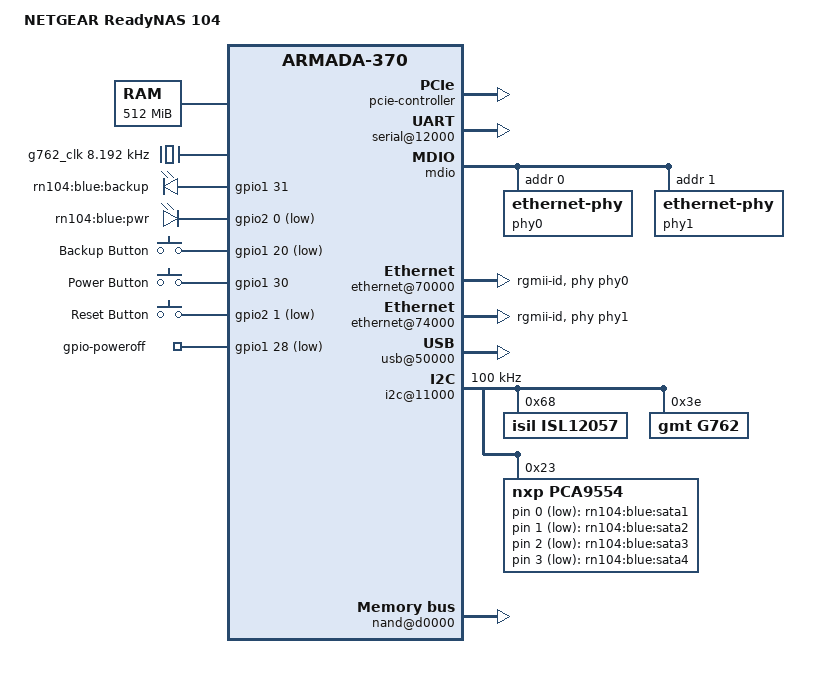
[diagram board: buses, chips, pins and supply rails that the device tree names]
/*
 * Device Tree file for NETGEAR ReadyNAS 104
 *
 * Copyright (C) 2013, Arnaud EBALARD <arno@natisbad.org>
 *
 * This program is free software; you can redistribute it and/or
 * modify it under the terms of the GNU General Public License
 * as published by the Free Software Foundation; either version
 * 2 of the License, or (at your option) any later version.
 */

/dts-v1/;

#include <dt-bindings/input/input.h>
#include <dt-bindings/gpio/gpio.h>
#include "armada-370.dtsi"

/ {
	model = "NETGEAR ReadyNAS 104";
	compatible = "netgear,readynas-104", "marvell,armada370", "marvell,armada-370-xp";

	chosen {
		bootargs = "console=ttyS0,115200 earlyprintk";
	};

	memory {
		device_type = "memory";
		reg = <0x00000000 0x20000000>; /* 512 MB */
	};

	soc {
		ranges = <MBUS_ID(0xf0, 0x01) 0 0xd0000000 0x100000
			  MBUS_ID(0x01, 0xe0) 0 0xfff00000 0x100000>;

		pcie-controller {
			status = "okay";

			/* Connected to FL1009 USB 3.0 controller */
			pcie@1,0 {
				/* Port 0, Lane 0 */
				status = "okay";
			};

			/* Connected to Marvell 88SE9215 SATA controller */
			pcie@2,0 {
				/* Port 1, Lane 0 */
				status = "okay";
			};
		};

		internal-regs {
			serial@12000 {
				status = "okay";
			};

			pinctrl {
				poweroff: poweroff {
					marvell,pins = "mpp60";
					marvell,function = "gpio";
				};

				backup_button_pin: backup-button-pin {
					marvell,pins = "mpp52";
					marvell,function = "gpio";
				};

				power_button_pin: power-button-pin {
					marvell,pins = "mpp62";
					marvell,function = "gpio";
				};

				backup_led_pin: backup-led-pin {
					marvell,pins = "mpp63";
					marvell,function = "gpo";
				};

				power_led_pin: power-led-pin {
					marvell,pins = "mpp64";
					marvell,function = "gpio";
				};

				reset_button_pin: reset-button-pin {
					marvell,pins = "mpp65";
					marvell,function = "gpio";
				};
			};

			mdio {
				pinctrl-0 = <&mdio_pins>;
				pinctrl-names = "default";
				phy0: ethernet-phy@0 { /* Marvell 88E1318 */
					reg = <0>;
				};

				phy1: ethernet-phy@1 { /* Marvell 88E1318 */
					reg = <1>;
				};
			};

			ethernet@70000 {
				pinctrl-0 = <&ge0_rgmii_pins>;
				pinctrl-names = "default";
				status = "okay";
				phy = <&phy0>;
				phy-mode = "rgmii-id";
			};

			ethernet@74000 {
				pinctrl-0 = <&ge1_rgmii_pins>;
				pinctrl-names = "default";
				status = "okay";
				phy = <&phy1>;
				phy-mode = "rgmii-id";
			};

			usb@50000 {
				status = "okay";
			};

			i2c@11000 {
				compatible = "marvell,mv64xxx-i2c";
				clock-frequency = <100000>;
				status = "okay";

				isl12057: isl12057@68 {
					compatible = "isil,isl12057";
					reg = <0x68>;
				};

				g762: g762@3e {
					compatible = "gmt,g762";
					reg = <0x3e>;
					clocks = <&g762_clk>; /* input clock */
					fan_gear_mode = <0>;
					fan_startv = <1>;
					pwm_polarity = <0>;
				};

				pca9554: pca9554@23 {
					compatible = "nxp,pca9554";
					gpio-controller;
					#gpio-cells = <2>;
					reg = <0x23>;
				};
			};

			nand@d0000 {
				status = "okay";
				num-cs = <1>;
				marvell,nand-keep-config;
				marvell,nand-enable-arbiter;
				nand-on-flash-bbt;

				/* Use Hardware BCH ECC */
				nand-ecc-strength = <4>;
				nand-ecc-step-size = <512>;

				partition@0 {
					label = "u-boot";
					reg = <0x0000000 0x180000>;  /* 1.5MB */
					read-only;
				};

				partition@180000 {
					label = "u-boot-env";
					reg = <0x180000 0x20000>;    /* 128KB */
					read-only;
				};

				partition@200000 {
					label = "uImage";
					reg = <0x0200000 0x600000>;    /* 6MB */
				};

				partition@800000 {
					label = "minirootfs";
					reg = <0x0800000 0x400000>;    /* 4MB */
				};

				/* Last MB is for the BBT, i.e. not writable */
				partition@c00000 {
					label = "ubifs";
					reg = <0x0c00000 0x7400000>; /* 116MB */
				};
			};
		};
	};

	clocks {
	       g762_clk: g762-oscillator {
			 compatible = "fixed-clock";
			 #clock-cells = <0>;
			 clock-frequency = <8192>;
	       };
	};

	gpio-leds {
		compatible = "gpio-leds";
		pinctrl-0 = <&backup_led_pin &power_led_pin>;
		pinctrl-names = "default";

		blue-backup-led {
			label = "rn104:blue:backup";
			gpios = <&gpio1 31 GPIO_ACTIVE_HIGH>;
			default-state = "off";
		};

		blue-power-led {
			label = "rn104:blue:pwr";
			gpios = <&gpio2 0 GPIO_ACTIVE_LOW>;
			linux,default-trigger = "keep";
		};

		blue-sata1-led {
			label = "rn104:blue:sata1";
			gpios = <&pca9554 0 GPIO_ACTIVE_LOW>;
			default-state = "off";
		};

		blue-sata2-led {
			label = "rn104:blue:sata2";
			gpios = <&pca9554 1 GPIO_ACTIVE_LOW>;
			default-state = "off";
		};

		blue-sata3-led {
			label = "rn104:blue:sata3";
			gpios = <&pca9554 2 GPIO_ACTIVE_LOW>;
			default-state = "off";
		};

		blue-sata4-led {
			label = "rn104:blue:sata4";
			gpios = <&pca9554 3 GPIO_ACTIVE_LOW>;
			default-state = "off";
		};
	};

	gpio-keys {
		compatible = "gpio-keys";
		pinctrl-0 = <&backup_button_pin
			     &power_button_pin
			     &reset_button_pin>;
		pinctrl-names = "default";

		backup-button {
			label = "Backup Button";
			linux,code = <KEY_COPY>;
			gpios = <&gpio1 20 GPIO_ACTIVE_LOW>;
		};

		power-button {
			label = "Power Button";
			linux,code = <KEY_POWER>;
			gpios = <&gpio1 30 GPIO_ACTIVE_HIGH>;
		};

		reset-button {
			label = "Reset Button";
			linux,code = <KEY_RESTART>;
			gpios = <&gpio2 1 GPIO_ACTIVE_LOW>;
		};
	};

	gpio-poweroff {
		compatible = "gpio-poweroff";
		pinctrl-0 = <&poweroff>;
		pinctrl-names = "default";
		gpios = <&gpio1 28 GPIO_ACTIVE_LOW>;
	};
};
